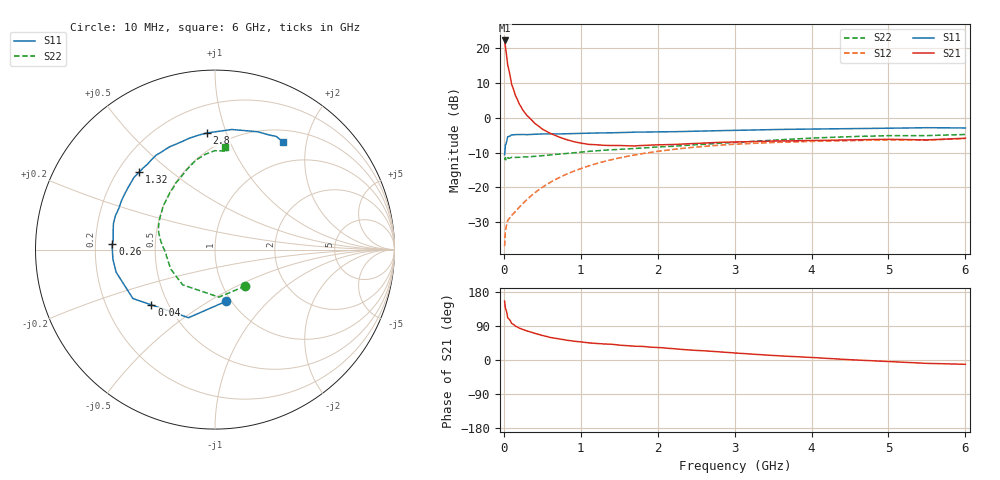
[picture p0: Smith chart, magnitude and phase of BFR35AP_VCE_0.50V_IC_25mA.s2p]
! Infineon Technologies  Discrete & RF Semiconductors
! BFR35AP
! VCE = 0.50 V,  IC =  25 mA
! Common Emitter S-Parameters:  Nov 2015
# GHz  S  MA  R  50
!  f  S11  S21  S12  S22
! GHz  MAG  ANG  MAG  ANG  MAG  ANG  MAG  ANG
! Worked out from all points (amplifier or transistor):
!   210 points, 10 MHz to 6 GHz, reference 50 ohm
!   highest |S21| = 22.1 dB at 10 MHz (marker M1)
!   |S21| within 3 dB of that: start of sweep to 28.2 MHz
!   unconditionally stable (mu >= 1): start of sweep to end of sweep
!   at 185 MHz: K = 3.76, MAG = 6.7 dB, |S12| = -26.1 dB
!   at 1.52 GHz: K = 2.86, MAG = -5.7 dB, |S12| = -11.5 dB
!   at 6 GHz: K = 1.17, MAG = -2.5 dB, |S12| = -6.0 dB
!   S11 on the Smith chart (normalised r, x): 10 MHz: 0.95, -0.60; 40 MHz: 0.40, -0.32; 260 MHz: 0.27, +0.03; 1.32 GHz: 0.29, +0.39; 2.8 GHz: 0.38, +0.86; 6 GHz: 0.67, +1.61
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0.01  0.2941 -77.5  12.73 155.2  0.0144 60.2  0.2639 -50.2
0.015  0.3359 -97.1  11.45 147.0  0.0191 53.6  0.2526 -67.8
0.02  0.4069 -111.2  10.45 137.1  0.0239 49.6  0.2658 -85.2
0.04  0.4694 -139.0  7.092 123.7  0.0302 40.4  0.2464 -117.2
0.05  0.5325 -149.2  5.685 111.4  0.0335 37.1  0.2664 -132.5
0.1  0.565 -167.1  3.029 96.8  0.0394 37.9  0.2695 -156.3
0.15  0.5712 -174.5  2.082 89.4  0.045 42.9  0.2692 -164.5
0.2  0.5716 -179.1  1.573 84.1  0.0519 48.3  0.2699 -169.3
0.26  0.5728 176.8  1.226 79.3  0.0607 52.4  0.2736 -172.9
0.3  0.5696 174.6  1.074 76.7  0.0669 54.9  0.2733 -174.5
0.4  0.577 169.5  0.831 70.2  0.0833 58.4  0.278 -177.9
0.5  0.5842 165.6  0.685 64.8  0.1002 60.0  0.2856 179.0
0.72  0.5837 156.2  0.526 55.6  0.1382 60.0  0.2995 173.5
1.02  0.5949 144.6  0.428 47.3  0.1893 56.9  0.3216 165.1
1.32  0.6038 134.2  0.4 42.2  0.2376 51.9  0.3419 156.6
2.02  0.6258 113.2  0.407 32.8  0.3308 39.0  0.3808 137.9
2.8  0.6512 93.9  0.443 21.6  0.4028 25.5  0.4306 120.4
3.1  0.6591 88.4  0.449 17.2  0.42 20.6  0.4467 115.1
4.1  0.6873 74.3  0.472 5.5  0.4586 7.1  0.5144 100.6
5.1  0.7064 64.7  0.487 -5.0  0.4785 -3.9  0.5508 88.7
5.5  0.7169 61.6  0.479 -8.9  0.4762 -8.1  0.5525 82.9
6  0.71 57.6  0.506 -11.3  0.5023 -11.4  0.5733 84.5
